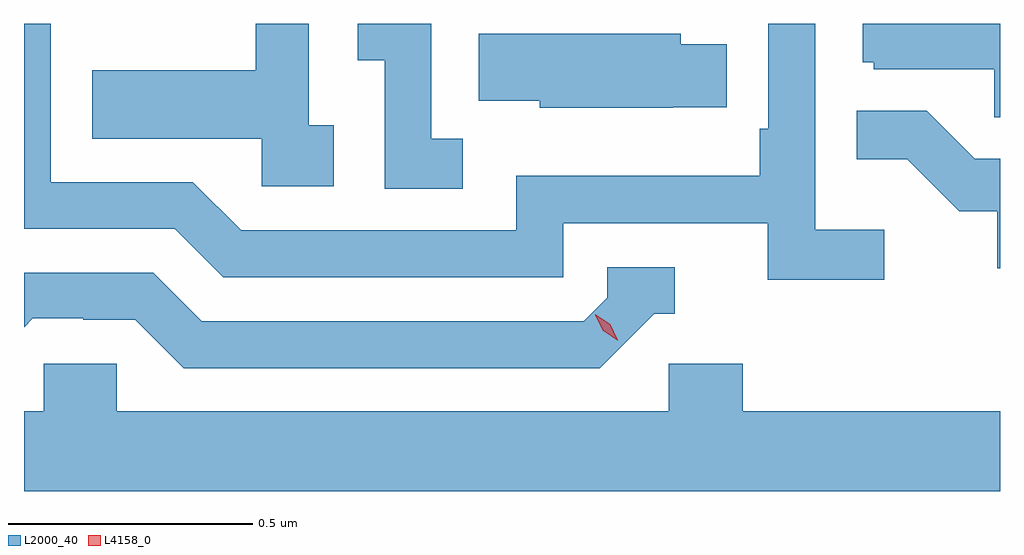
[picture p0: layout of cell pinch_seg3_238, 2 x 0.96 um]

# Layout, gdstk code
import gdstk
lib = gdstk.Library(unit=1e-6, precision=1e-09)
def P(c, l, *ps):  # polygons
    for p in ps: c.add(gdstk.Polygon(p, *l))
L2000_40 = (2000, 40)
L4158_0 = (4158, 0)

pinch_seg3_238 = lib.new_cell('pinch_seg3_238')
P(pinch_seg3_238, L2000_40, [(902.443,739.171),(902.162,739.171),(902.162,739.092),(902.184,739.092),(902.184,739.077),(902.431,739.077),(902.431,738.979),(902.443,738.979)],
  [(901.342,738.935),(901.278,738.935),(901.278,739.171),(901.127,739.171),(901.127,739.096),(901.182,739.096),(901.182,738.832),(901.342,738.832)],
  [(902.206,738.748),(902.064,738.748),(902.064,739.171),(901.968,739.171),(901.968,738.955),(901.951,738.955),(901.951,738.859),(901.452,738.859),(901.452,738.747),(900.888,738.747),(900.789,738.846),(900.498,738.846),(900.498,739.171),(900.443,739.171),(900.443,738.75),(900.752,738.75),(900.851,738.651),(901.548,738.651),(901.548,738.762),(901.967,738.762),(901.967,738.646),(902.206,738.646)],
  [(901.078,738.962),(901.026,738.962),(901.026,739.171),(900.918,739.171),(900.918,739.075),(900.583,739.075),(900.583,738.935),(900.93,738.935),(900.93,738.837),(901.078,738.837)],
  [(901.772,738.999),(901.883,738.999),(901.883,739.128),(901.789,739.128),(901.789,739.15),(901.375,739.15),(901.375,739.013),(901.5,739.013),(901.5,738.998),(901.772,738.998)],
  [(902.443,738.894),(902.391,738.894),(902.293,738.992),(902.149,738.992),(902.149,738.893),(902.253,738.893),(902.36,738.786),(902.437,738.786),(902.437,738.669),(902.443,738.669)],
  [(901.734,738.576),(901.777,738.576),(901.777,738.672),(901.638,738.672),(901.638,738.609),(901.59,738.561),(900.807,738.561),(900.708,738.66),(900.443,738.66),(900.443,738.549),(900.461,738.567),(900.564,738.567),(900.564,738.564),(900.671,738.564),(900.77,738.465),(901.623,738.465)],
  [(902.443,738.376),(901.916,738.376),(901.916,738.474),(901.764,738.474),(901.764,738.376),(900.633,738.376),(900.633,738.474),(900.483,738.474),(900.483,738.376),(900.443,738.376),(900.443,738.212),(902.443,738.212)])
P(pinch_seg3_238, L4158_0, [(901.659,738.522),(901.629,738.542),(901.614,738.574),(901.614,738.575),(901.614,738.575),(901.644,738.555),(901.66,738.522),(901.66,738.522)])

lib.write_gds('pinch_seg3_238.gds')
